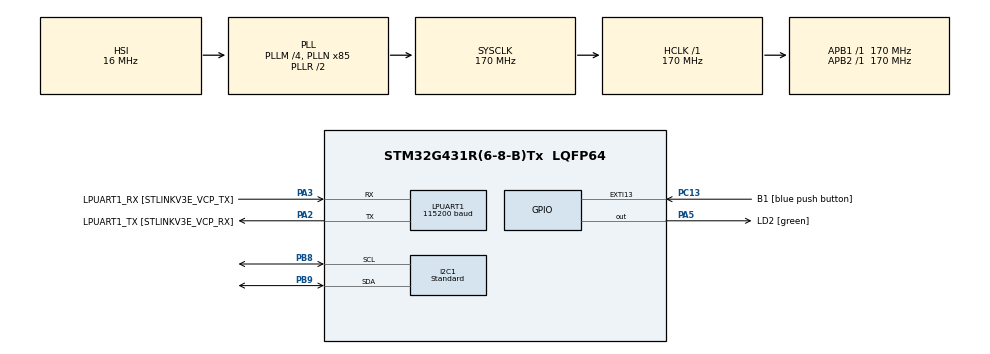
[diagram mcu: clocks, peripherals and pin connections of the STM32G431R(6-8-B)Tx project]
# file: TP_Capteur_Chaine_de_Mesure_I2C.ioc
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I2C1.I2C_Speed_Mode=I2C_Standard
I2C1.Timing=0x30A0A7FB
LPUART1.BaudRate=115200
Mcu.Family=STM32G4
Mcu.Name=STM32G431R(6-8-B)Tx
Mcu.Package=LQFP64
NVIC.PriorityGroup=NVIC_PRIORITYGROUP_4
PA13.GPIO_Label=T_SWDIO
PA13.Signal=SYS_JTMS-SWDIO
PA14.GPIO_Label=T_SWCLK
PA14.Signal=SYS_JTCK-SWCLK
PA2.GPIO_Label=LPUART1_TX [STLINKV3E_VCP_RX]
PA2.Mode=Asynchronous
PA2.Signal=LPUART1_TX
PA3.GPIO_Label=LPUART1_RX [STLINKV3E_VCP_TX]
PA3.Mode=Asynchronous
PA3.Signal=LPUART1_RX
PA5.GPIO_Label=LD2 [green]
PA5.Signal=GPIO_Output
PB3.GPIO_Label=T_SWO
PB3.Signal=SYS_JTDO-SWO
PB8-BOOT0.Mode=I2C
PB8-BOOT0.Signal=I2C1_SCL
PB9.Mode=I2C
PB9.Signal=I2C1_SDA
PC13.GPIO_Label=B1 [blue push button]
PC13.Signal=GPXTI13
PC14-OSC32_IN.Signal=RCC_OSC32_IN
PC15-OSC32_OUT.Signal=RCC_OSC32_OUT
PF0-OSC_IN.Signal=RCC_OSC_IN
PF1-OSC_OUT.Signal=RCC_OSC_OUT
ProjectManager.HeapSize=0x200
ProjectManager.StackSize=0x400
ProjectManager.TargetToolchain=STM32CubeIDE
RCC.ADC12Freq_Value=170000000
RCC.AHBFreq_Value=170000000
RCC.APB1Freq_Value=170000000
RCC.APB1TimFreq_Value=170000000
RCC.APB2Freq_Value=170000000
RCC.APB2TimFreq_Value=170000000
RCC.CortexFreq_Value=170000000
RCC.EXTERNAL_CLOCK_VALUE=12288000
RCC.HCLKFreq_Value=170000000
RCC.HSE_VALUE=24000000
RCC.HSI48_VALUE=48000000
RCC.HSI_VALUE=16000000
RCC.LSE_VALUE=32768
RCC.PLLM=RCC_PLLM_DIV4
RCC.PLLN=85
RCC.RTCClockSelection=RCC_RTCCLKSOURCE_LSE
RCC.SYSCLKFreq_VALUE=170000000
RCC.SYSCLKSource=RCC_SYSCLKSOURCE_PLLCLK
RCC.USBFreq_Value=170000000
RCC.VCOOutputFreq_Value=340000000
VP_SYS_VS_DBSignals.Mode=DisableDeadBatterySignals
board=NUCLEO-G431RB

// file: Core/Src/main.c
/* USER CODE BEGIN Header */
/**
  ******************************************************************************
  * @file           : main.c
  * @brief          : Main program body
  ******************************************************************************
  * @attention
  *
  * Copyright (c) 2022 STMicroelectronics.
  * All rights reserved.
  *
  * This software is licensed under terms that can be found in the LICENSE file
  * in the root directory of this software component.
  * If no LICENSE file comes with this software, it is provided AS-IS.
  *
  ******************************************************************************
  */

/* USER CODE END Header */
#include "main.h"
#include "i2c.h"
#include "usart.h"
#include "gpio.h"

/* USER CODE BEGIN Includes */
#include "stdio.h"
#include "stdlib.h"
#include "stdint.h"
#include <math.h>
//#include "Const.h"
#include "IMU_10DOFv2.h"
/* USER CODE END Includes */

/* USER CODE BEGIN PV */
char mess[30];

/* USER CODE END PV */

void SystemClock_Config(void);

/* USER CODE BEGIN 0 */
int tabI2CAdd[8] = {0,0,0,0,0,0,0,0};
/* USER CODE END 0 */

int main(void)
{
  /* USER CODE BEGIN 1 */
	double temp = 0;
	double accel = 0;
	double gyro = 0;
	double magneto = 0;
  /* USER CODE END 1 */

  /* MCU Configuration--------------------------------------------------------*/

  /* Reset of all peripherals, Initializes the Flash interface and the Systick. */
  HAL_Init();

  /* Configure the system clock */
  SystemClock_Config();

  /* Initialize all configured peripherals */
  MX_GPIO_Init();
  MX_I2C1_Init();
  MX_LPUART1_UART_Init();
  /* USER CODE BEGIN 2 */

  //SIG INIT STM32
  printf("-----------------------------------------------\r\n"
		 "HelloWorld, Welcome on the Quali dev software for learning I2C\r\n\n\n");

  // INIT SENSORS

  //Presence capteurs sur le bus I2C

  TestSensorOnI2C(tabI2CAdd);

  SearchMPU9250();  		// On cherche le MPU9250

  SearchBMP280();			// On cherche le BMP280 visible à 0x18 avant Init()

  PrintTab(tabI2CAdd); 		// On affiche les valeurs du tableau d'addresse

  Init_IMU_10DOF(&hi2c1);

  SearchBMP280();			// On cherche le BMP280 visible à 0x18 après Init()

  TestSensorOnI2C(tabI2CAdd);
  PrintTab(tabI2CAdd); 		// On affiche les valeurs du tableau d'addresse

  /* USER CODE END 2 */

  /* Infinite loop */
  /* USER CODE BEGIN WHILE */
  while (1)
  {

	  Measure_T(&hi2c1,&temp);
	  Measure_A(&hi2c1,&accel);
	  Measure_G(&hi2c1,&gyro);
	  Measure_M(&hi2c1,&magneto);
	  printf("\r\n");
	  HAL_Delay(1000);

    /* USER CODE END WHILE */

  }
}

void SystemClock_Config(void)
{
  RCC_OscInitTypeDef RCC_OscInitStruct = {0};
  RCC_ClkInitTypeDef RCC_ClkInitStruct = {0};

  /** Configure the main internal regulator output voltage
  */
  HAL_PWREx_ControlVoltageScaling(PWR_REGULATOR_VOLTAGE_SCALE1_BOOST);

  /** Initializes the RCC Oscillators according to the specified parameters
  * in the RCC_OscInitTypeDef structure.
  */
  RCC_OscInitStruct.OscillatorType = RCC_OSCILLATORTYPE_HSI;
  RCC_OscInitStruct.HSIState = RCC_HSI_ON;
  RCC_OscInitStruct.HSICalibrationValue = RCC_HSICALIBRATION_DEFAULT;
  RCC_OscInitStruct.PLL.PLLState = RCC_PLL_ON;
  RCC_OscInitStruct.PLL.PLLSource = RCC_PLLSOURCE_HSI;
  RCC_OscInitStruct.PLL.PLLM = RCC_PLLM_DIV4;
  RCC_OscInitStruct.PLL.PLLN = 85;
  RCC_OscInitStruct.PLL.PLLP = RCC_PLLP_DIV2;
  RCC_OscInitStruct.PLL.PLLQ = RCC_PLLQ_DIV2;
  RCC_OscInitStruct.PLL.PLLR = RCC_PLLR_DIV2;
  if (HAL_RCC_OscConfig(&RCC_OscInitStruct) != HAL_OK)
  {
    Error_Handler();
  }

  /** Initializes the CPU, AHB and APB buses clocks
  */
  RCC_ClkInitStruct.ClockType = RCC_CLOCKTYPE_HCLK|RCC_CLOCKTYPE_SYSCLK
                              |RCC_CLOCKTYPE_PCLK1|RCC_CLOCKTYPE_PCLK2;
  RCC_ClkInitStruct.SYSCLKSource = RCC_SYSCLKSOURCE_PLLCLK;
  RCC_ClkInitStruct.AHBCLKDivider = RCC_SYSCLK_DIV1;
  RCC_ClkInitStruct.APB1CLKDivider = RCC_HCLK_DIV1;
  RCC_ClkInitStruct.APB2CLKDivider = RCC_HCLK_DIV1;

  if (HAL_RCC_ClockConfig(&RCC_ClkInitStruct, FLASH_LATENCY_4) != HAL_OK)
  {
    Error_Handler();
  }
}

void Error_Handler(void)
{
  /* USER CODE BEGIN Error_Handler_Debug */
  /* User can add his own implementation to report the HAL error return state */
  __disable_irq();

  printf("an Error Occur, please Reset system\r\n");

  while (1)
  {
  }
  /* USER CODE END Error_Handler_Debug */
}
